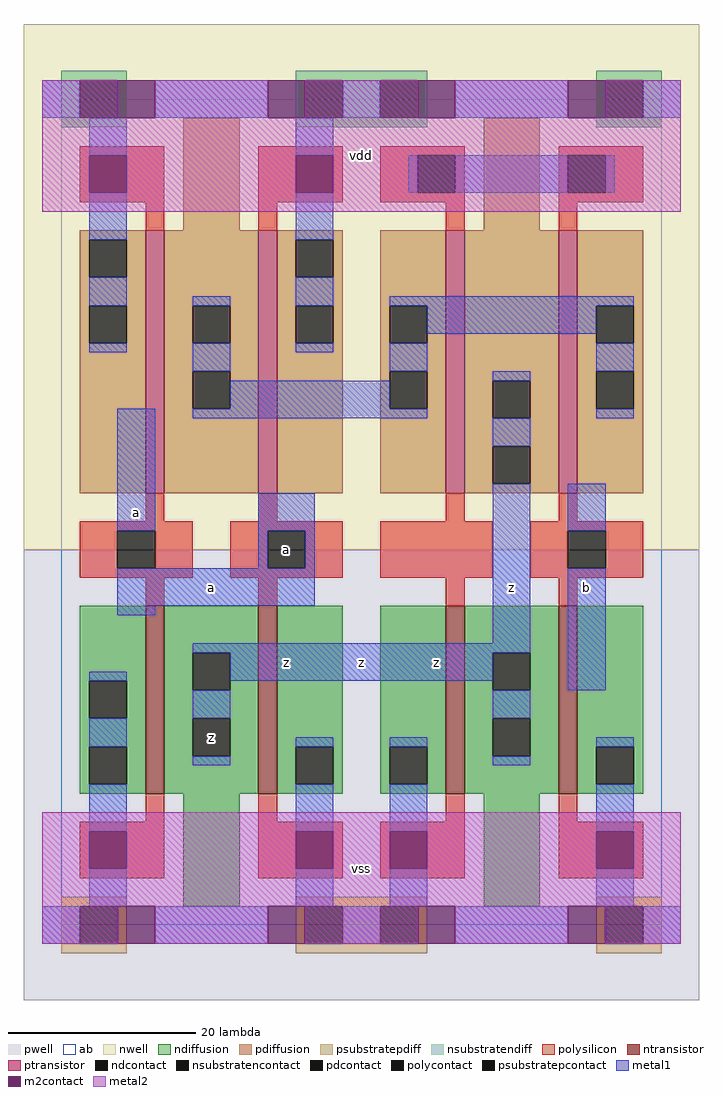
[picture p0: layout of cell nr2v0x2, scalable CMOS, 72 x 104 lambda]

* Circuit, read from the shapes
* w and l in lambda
.subckt nr2v0x2 a b vdd vss z
M1 z a vss vss nfet w=20 l=2 m=2
M2 z b vss vss nfet w=20 l=2 m=2
M3 n1 a vdd vdd pfet w=28 l=2 m=2
M4 z b n1 vdd pfet w=28 l=2 m=2
.ends

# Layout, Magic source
magic
tech scmos
<< ab >>
rect 0 0 64 88
<< pwell >>
rect -4 -8 68 40
<< nwell >>
rect -4 40 68 96
<< polysilicon >>
rect 2 77 11 83
rect 9 74 11 77
rect 21 77 30 83
rect 34 82 43 83
rect 34 78 38 82
rect 42 78 43 82
rect 34 77 43 78
rect 21 74 23 77
rect 41 74 43 77
rect 53 82 62 83
rect 53 78 54 82
rect 58 78 62 82
rect 53 77 62 78
rect 53 74 55 77
rect 9 43 11 46
rect 21 43 23 46
rect 41 43 43 46
rect 53 43 55 46
rect 2 42 14 43
rect 2 38 6 42
rect 10 38 14 42
rect 2 37 14 38
rect 18 42 30 43
rect 18 38 22 42
rect 26 38 30 42
rect 18 37 30 38
rect 34 37 46 43
rect 50 42 62 43
rect 50 38 54 42
rect 58 38 62 42
rect 50 37 62 38
rect 9 34 11 37
rect 21 34 23 37
rect 41 34 43 37
rect 53 34 55 37
rect 9 11 11 14
rect 2 5 11 11
rect 21 11 23 14
rect 41 11 43 14
rect 21 5 30 11
rect 34 5 43 11
rect 53 11 55 14
rect 53 5 62 11
<< ndiffusion >>
rect 2 26 9 34
rect 2 22 3 26
rect 7 22 9 26
rect 2 19 9 22
rect 2 15 3 19
rect 7 15 9 19
rect 2 14 9 15
rect 11 29 21 34
rect 11 25 14 29
rect 18 25 21 29
rect 11 22 21 25
rect 11 18 14 22
rect 18 18 21 22
rect 11 14 21 18
rect 23 19 30 34
rect 23 15 25 19
rect 29 15 30 19
rect 23 14 30 15
rect 34 19 41 34
rect 34 15 35 19
rect 39 15 41 19
rect 34 14 41 15
rect 43 29 53 34
rect 43 25 46 29
rect 50 25 53 29
rect 43 22 53 25
rect 43 18 46 22
rect 50 18 53 22
rect 43 14 53 18
rect 55 19 62 34
rect 55 15 57 19
rect 61 15 62 19
rect 55 14 62 15
rect 13 2 19 14
rect 45 2 51 14
<< pdiffusion >>
rect 13 74 19 86
rect 45 74 51 86
rect 2 73 9 74
rect 2 69 3 73
rect 7 69 9 73
rect 2 66 9 69
rect 2 62 3 66
rect 7 62 9 66
rect 2 46 9 62
rect 11 66 21 74
rect 11 62 14 66
rect 18 62 21 66
rect 11 59 21 62
rect 11 55 14 59
rect 18 55 21 59
rect 11 46 21 55
rect 23 73 30 74
rect 23 69 25 73
rect 29 69 30 73
rect 23 66 30 69
rect 23 62 25 66
rect 29 62 30 66
rect 23 46 30 62
rect 34 66 41 74
rect 34 62 35 66
rect 39 62 41 66
rect 34 59 41 62
rect 34 55 35 59
rect 39 55 41 59
rect 34 46 41 55
rect 43 58 53 74
rect 43 54 46 58
rect 50 54 53 58
rect 43 51 53 54
rect 43 47 46 51
rect 50 47 53 51
rect 43 46 53 47
rect 55 66 62 74
rect 55 62 57 66
rect 61 62 62 66
rect 55 59 62 62
rect 55 55 57 59
rect 61 55 62 59
rect 55 46 62 55
<< metal1 >>
rect -2 86 2 90
rect 10 86 22 90
rect 30 86 34 90
rect 42 86 54 90
rect 62 86 66 90
rect 3 82 7 86
rect 3 73 7 78
rect 3 66 7 69
rect 25 82 29 86
rect 37 78 38 82
rect 42 78 54 82
rect 58 78 59 82
rect 25 73 29 78
rect 3 61 7 62
rect 14 66 18 67
rect 14 59 18 62
rect 25 66 29 69
rect 25 61 29 62
rect 35 66 61 67
rect 39 63 57 66
rect 35 59 39 62
rect 57 59 61 62
rect 18 55 35 58
rect 6 42 10 55
rect 14 54 39 55
rect 46 58 50 59
rect 57 54 61 55
rect 46 51 50 54
rect 21 42 27 46
rect 21 38 22 42
rect 26 38 27 42
rect 6 34 27 38
rect 6 33 10 34
rect 46 30 50 47
rect 14 29 50 30
rect 3 26 7 27
rect 3 19 7 22
rect 18 26 46 29
rect 14 22 18 25
rect 54 42 58 47
rect 54 25 58 38
rect 46 22 50 25
rect 14 17 18 18
rect 25 19 29 20
rect 3 10 7 15
rect 3 2 7 6
rect 25 10 29 15
rect 25 2 29 6
rect 35 19 39 20
rect 46 17 50 18
rect 57 19 61 20
rect 35 10 39 15
rect 35 2 39 6
rect 57 10 61 15
rect 57 2 61 6
rect -2 -2 2 2
rect 10 -2 22 2
rect 30 -2 34 2
rect 42 -2 54 2
rect 62 -2 66 2
<< metal2 >>
rect -2 86 6 90
rect 10 86 22 90
rect 26 86 38 90
rect 42 86 54 90
rect 58 86 66 90
rect -2 82 66 86
rect -2 78 3 82
rect 7 78 25 82
rect 29 78 66 82
rect -2 76 66 78
rect -2 10 66 12
rect -2 6 3 10
rect 7 6 25 10
rect 29 6 35 10
rect 39 6 57 10
rect 61 6 66 10
rect -2 2 66 6
rect -2 -2 6 2
rect 10 -2 22 2
rect 26 -2 38 2
rect 42 -2 54 2
rect 58 -2 66 2
<< ntransistor >>
rect 9 14 11 34
rect 21 14 23 34
rect 41 14 43 34
rect 53 14 55 34
<< ptransistor >>
rect 9 46 11 74
rect 21 46 23 74
rect 41 46 43 74
rect 53 46 55 74
<< polycontact >>
rect 38 78 42 82
rect 54 78 58 82
rect 6 38 10 42
rect 22 38 26 42
rect 54 38 58 42
<< ndcontact >>
rect 3 22 7 26
rect 3 15 7 19
rect 14 25 18 29
rect 14 18 18 22
rect 25 15 29 19
rect 35 15 39 19
rect 46 25 50 29
rect 46 18 50 22
rect 57 15 61 19
<< pdcontact >>
rect 3 69 7 73
rect 3 62 7 66
rect 14 62 18 66
rect 14 55 18 59
rect 25 69 29 73
rect 25 62 29 66
rect 35 62 39 66
rect 35 55 39 59
rect 46 54 50 58
rect 46 47 50 51
rect 57 62 61 66
rect 57 55 61 59
<< m2contact >>
rect 6 86 10 90
rect 22 86 26 90
rect 38 86 42 90
rect 54 86 58 90
rect 3 78 7 82
rect 25 78 29 82
rect 3 6 7 10
rect 25 6 29 10
rect 35 6 39 10
rect 57 6 61 10
rect 6 -2 10 2
rect 22 -2 26 2
rect 38 -2 42 2
rect 54 -2 58 2
<< psubstratepcontact >>
rect 2 -2 6 2
rect 26 -2 30 2
rect 34 -2 38 2
rect 58 -2 62 2
<< nsubstratencontact >>
rect 2 86 6 90
rect 26 86 30 90
rect 34 86 38 90
rect 58 86 62 90
<< psubstratepdiff >>
rect 0 2 7 3
rect 25 2 39 3
rect 57 2 64 3
rect 0 -2 2 2
rect 6 -2 7 2
rect 0 -3 7 -2
rect 25 -2 26 2
rect 30 -2 34 2
rect 38 -2 39 2
rect 25 -3 39 -2
rect 57 -2 58 2
rect 62 -2 64 2
rect 57 -3 64 -2
<< nsubstratendiff >>
rect 0 90 7 91
rect 0 86 2 90
rect 6 86 7 90
rect 25 90 39 91
rect 25 86 26 90
rect 30 86 34 90
rect 38 86 39 90
rect 57 90 64 91
rect 57 86 58 90
rect 62 86 64 90
rect 0 85 7 86
rect 25 85 39 86
rect 57 85 64 86
<< labels >>
rlabel metal1 8 44 8 44 6 a
rlabel ndcontact 16 20 16 20 6 z
rlabel metal1 16 36 16 36 6 a
rlabel metal1 24 28 24 28 6 z
rlabel metal1 32 28 32 28 6 z
rlabel polycontact 24 40 24 40 6 a
rlabel metal1 40 28 40 28 6 z
rlabel metal1 48 36 48 36 6 z
rlabel metal1 56 36 56 36 6 b
rlabel metal2 32 6 32 6 6 vss
rlabel metal2 32 82 32 82 6 vdd
<< end >>
